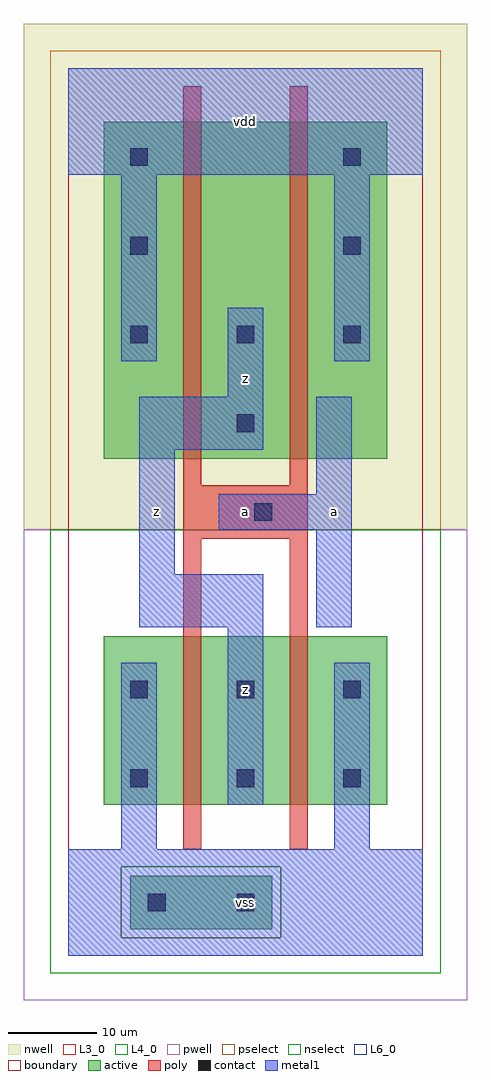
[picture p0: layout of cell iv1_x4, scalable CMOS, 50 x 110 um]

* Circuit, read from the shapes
.subckt iv1_x4 a vdd vss z
M1 z a vss vss nfet w=19u l=2u m=2
M2 z a vdd n1 pfet w=38u l=2u m=2
.ends

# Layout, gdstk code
import gdstk
lib = gdstk.Library(unit=1e-6, precision=1e-09)
def R(c, l, rs):  # rectangles x0, y0, x1, y1
    for r in rs: c.add(gdstk.rectangle(r[:2], r[2:], *l))
def A(c, l, x, y, w, h, nx, ny, dx, dy):  # array of equal rectangles
    R(c, l, [(x+i*dx, y+j*dy, x+i*dx+w, y+j*dy+h) for i in range(nx) for j in range(ny)])
L3_0 = (3, 0)
L4_0 = (4, 0)
L6_0 = (6, 0)
contact = (25, 0)
pwell = (41, 0)
nwell = (42, 0)
active = (43, 0)
pselect = (44, 0)
nselect = (45, 0)
poly = (46, 0)
metal1 = (49, 0)
boundary = (63, 0)

iv1_x4 = lib.new_cell('iv1_x4')
R(iv1_x4, L3_0, [(4,17,36,36)])
R(iv1_x4, L4_0, [(4,56,36,94)])
R(iv1_x4, L6_0, [(7,3,23,9)])
A(iv1_x4, contact, 7, 19, 2, 2, 3, 2, 12, 10)
A(iv1_x4, contact, 7, 69, 2, 2, 3, 1, 12, 0)
R(iv1_x4, contact, [(9,5,11,7), (19,5,21,7), (21,49,23,51), (19,59,21,61), (7,79,9,81), (31,79,33,81), (7,89,9,91), (31,89,33,91)])
R(iv1_x4, pwell, [(-5,-5,45,48)])
R(iv1_x4, nwell, [(-5,48,45,105)])
R(iv1_x4, active, [(7,3,23,9), (4,17,36,36), (4,56,36,94)])
R(iv1_x4, pselect, [(6,2,24,10), (-2,48,42,102)])
R(iv1_x4, nselect, [(-2,-2,42,2), (-2,2,6,10), (24,2,42,10), (-2,10,42,48)])
R(iv1_x4, poly, [(13,12,15,47), (25,12,27,47), (13,47,27,53), (13,53,15,98), (25,53,27,98)])
R(iv1_x4, metal1, [(0,0,40,12), (6,12,10,33), (30,12,34,33), (18,17,22,37), (8,37,22,43), (28,37,32,48), (8,43,12,57), (17,48,32,52), (28,52,32,63), (8,57,22,63), (18,63,22,73), (6,67,10,88), (30,67,34,88), (0,88,40,100)])
R(iv1_x4, boundary, [(0,0,40,100)])
iv1_x4.add(gdstk.Label('z', (10,50), layer=49, texttype=0))
iv1_x4.add(gdstk.Label('vss', (20,6), layer=49, texttype=0))
iv1_x4.add(gdstk.Label('z', (20,30), layer=49, texttype=0))
iv1_x4.add(gdstk.Label('a', (20,50), layer=49, texttype=0))
iv1_x4.add(gdstk.Label('z', (20,65), layer=49, texttype=0))
iv1_x4.add(gdstk.Label('vdd', (20,94), layer=49, texttype=0))
iv1_x4.add(gdstk.Label('a', (30,50), layer=49, texttype=0))

lib.write_gds('iv1_x4.gds')
